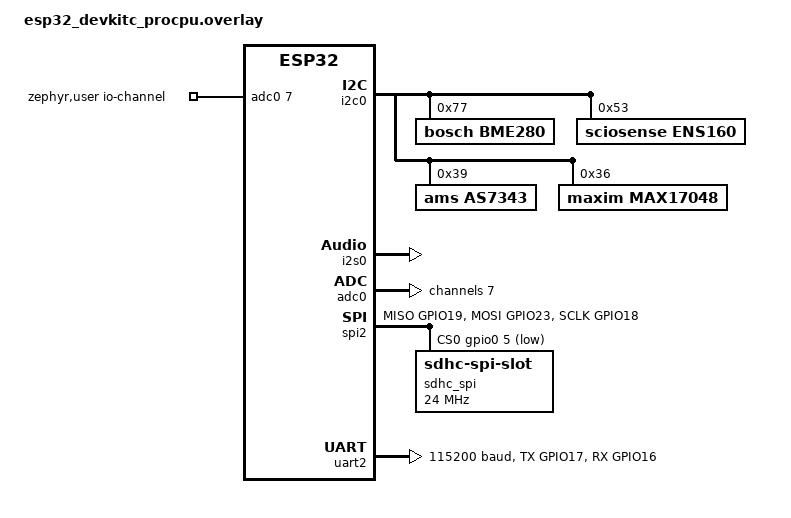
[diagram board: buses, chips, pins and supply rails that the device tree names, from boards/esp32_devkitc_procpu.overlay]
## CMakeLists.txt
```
cmake_minimum_required(VERSION 3.20.0)
find_package(Zephyr REQUIRED HINTS $ENV{ZEPHYR_BASE})
project(sensor_node)

include_directories(include)

FILE(GLOB app_sources src/*.c)
target_sources(app PRIVATE ${app_sources})
```

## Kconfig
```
mainmenu "Sensor Node Configuration"

source "Kconfig.zephyr"

choice SENSOR_NODE
    prompt "Sensor node type"
    default SENSOR_NODE_1

config SENSOR_NODE_1
    bool "Sensor Node 1 (BME280 + ENS160 + Sound)"
    help
      Enables BME280 temperature/humidity/pressure,
      ENS160 eCO2/TVOC/AQI, and SPH0645 sound FFT threads.

config SENSOR_NODE_2
    bool "Sensor Node 2 (AS7343 + Moisture)"
    help
      Enables AS7343 light spectrum and capacitive
      soil moisture sensor threads.

config SENSOR_NODE_3
    bool "Sensor Node 3 (current or voltage)"
    help
      Enables current/voltage sensor threads.

endchoice

config SD_LOGGING
    bool "Enable SD card offline logging when BLE is unavailable"
    default n

config SD_LOG_ALWAYS_WRITE
    bool "Enable SD card to always write and not just when BLE not connected"
    default n

config MST_POLY
    bool "Enables Polynomial calibration for the Capacitive Moisture Sensor"
    default n
```

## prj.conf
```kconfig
# ── Bluetooth ────────────────────────────────────────────
CONFIG_BT=y
CONFIG_BT_PERIPHERAL=y
CONFIG_BT_HCI=y
CONFIG_BT_DEVICE_NAME="SensorNode"

# ACL buffer sizes — increased to support extended MTU for
# sound spectrum characteristic (3 × ~236 byte notifications)
CONFIG_BT_BUF_ACL_RX_SIZE=251
CONFIG_BT_BUF_ACL_TX_SIZE=251

# L2CAP MTU — must be ≥ largest notification payload + 4 byte L2CAP header
# Largest sound packet = 238 bytes → set to 244 (BLE max for LE Data Packets)
CONFIG_BT_L2CAP_TX_MTU=247
# CONFIG_BT_CONN_TX_MAX=10
CONFIG_BT_BUF_ACL_TX_COUNT=10
CONFIG_BT_BUF_EVT_RX_COUNT=11

# Allow MTU negotiation so gateway can request 244 byte ATT MTU
CONFIG_BT_GATT_CLIENT=n
CONFIG_BT_ATT_PREPARE_COUNT=0

# ── Hardware peripherals 
CONFIG_GPIO=y
CONFIG_I2C=y
CONFIG_I2S=y

# ── Sensors 
CONFIG_SENSOR=y
CONFIG_SENSOR_ASYNC_API=y
CONFIG_SENSOR_INIT_PRIORITY=95

# ── Floating point 
# Required for FFT (cosf, sinf, sqrtf) and sensor value formatting
CONFIG_FPU=y
CONFIG_CBPRINTF_FP_SUPPORT=y

# ── Console / logging 
CONFIG_UART_CONSOLE=y
CONFIG_PRINTK=y
CONFIG_LOG=y
CONFIG_LOG_DEFAULT_LEVEL=3

CONFIG_LOG_BUFFER_SIZE=4096
CONFIG_LOG_MODE_DEFERRED=y
CONFIG_PRINTK_BUFFER_SIZE=4096

# Shell
CONFIG_SHELL=y
CONFIG_SHELL_LOG_BACKEND=y
CONFIG_LOG_CMDS=y

# ── Libraries (barely using this library anymore)
CONFIG_JSON_LIBRARY=y

# ── Stack sizes 
# Main stack — keep at 4096 for shell + sensor init
CONFIG_MAIN_STACK_SIZE=4096

# System workqueue — BLE stack uses this heavily
CONFIG_SYSTEM_WORKQUEUE_STACK_SIZE=2048

# Idle thread — minimum viable
CONFIG_IDLE_STACK_SIZE=512

# ISR stack — I2S DMA ISR is lightweight
CONFIG_ISR_STACK_SIZE=1536

# ── Heap 
# BLE stack + I2S DMA descriptors + sensor drivers all draw from heap
CONFIG_HEAP_MEM_POOL_SIZE=29696

# ── ESP32-specific 
CONFIG_ESP32_USE_UNSUPPORTED_REVISION=y

CONFIG_ADC=y
CONFIG_ADC_ESP32=y
CONFIG_MST_POLY=y

# #FUEL GAUGE 
CONFIG_FUEL_GAUGE=y

CONFIG_SD_LOGGING=y
CONFIG_SD_LOG_ALWAYS_WRITE=y

# # ── FAT32 file system 
CONFIG_FILE_SYSTEM=y
CONFIG_FAT_FILESYSTEM_ELM=y
# auto-format if no FAT found
CONFIG_FS_FATFS_MOUNT_MKFS=y
CONFIG_FS_FATFS_NUM_FILES=4
CONFIG_FS_FATFS_NUM_DIRS=4

CONFIG_THREAD_STACK_INFO=y
CONFIG_INIT_STACKS=y

CONFIG_PICOLIBC_IO_FLOAT=y

CONFIG_UART_ESP32=y

CONFIG_POWEROFF=y

CONFIG_SENSOR_NODE_1=y
# CONFIG_SENSOR_NODE_2=y
# CONFIG_SENSOR_NODE_3=y
```

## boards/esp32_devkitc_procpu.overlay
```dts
&i2c0 {

    bme280@76 {
        compatible = "bosch,bme280";
        reg = <0x77>;
        label = "BME280";
    };

    ens160@53 {
        compatible = "sciosense,ens160";
        reg = <0x53>;  /* or 0x52 depending on ADDR pin */
        label = "ENS160";
    };

    as7343@39 {
        compatible = "ams,as7343";
        reg = <0x39>;
        status = "okay";
        label = "AS7343";
    };

    max17048@36 {
        compatible = "maxim,max17048";
        reg = <0x36>;
        label = "MAX17048";
    };
};

// &pinctrl {
//     i2s0_default: i2s0_default {
//         group1 {
//             pinmux = <I2S0_O_WS_GPIO25>,
//                      <I2S0_O_BCK_GPIO26>,
//                      <I2S0_O_SD_GPIO27>;   /* TX data out — loopback pin */
//             output-enable;
//         };
//         group2 {
//             pinmux = <I2S0_I_SD_GPIO27>,   /* TX→RX internal loopback — keeps BCLK alive */
//                      <I2S0_I_SD_GPIO34>;   /* Mic data in (SPH0645 DOUT) */
//             input-enable;
//         };
//     };
// };

&pinctrl {
    i2s0_default: i2s0_default {
        group1 {
            pinmux = <I2S0_O_WS_GPIO25>,    /* Word */
                     <I2S0_O_BCK_GPIO26>,  /* Clock */
                     <I2S0_O_SD_GPIO27>;   /* TX data out — loopback pin */
            output-enable;
        };
        group2 {
            pinmux = <I2S0_I_SD_GPIO34>;   /* Mic data in (SPH0645 DOUT) */
            input-enable;
        };
    };
};


i2s_rxtx: &i2s0 {
    status = "okay";

    interrupts = <I2S0_INTR_SOURCE IRQ_DEFAULT_PRIORITY 0>,
                 <I2S0_INTR_SOURCE IRQ_DEFAULT_PRIORITY 0>;
    interrupt-names = "tx", "rx";
};

&adc0 {
    status = "okay";
    #address-cells = <1>;
    #size-cells = <0>;

    channel@7 {
        reg = <7>;
        zephyr,gain = "ADC_GAIN_1_4";
        zephyr,reference = "ADC_REF_INTERNAL";
        zephyr,acquisition-time = <ADC_ACQ_TIME_DEFAULT>;
        zephyr,input-positive = <7>;
        zephyr,resolution = <12>;
    };
};

/ {
    zephyr,user {
        io-channels = <&adc0 7>;
    };
};

/* Disable the onboard native SDHC controller to free the label */
&sdhc0 {
    status = "disabled";
};

&pinctrl {
    spim2_default: spim2_default {
        group1 {
            pinmux = <SPIM2_MISO_GPIO19>,
                     <SPIM2_MOSI_GPIO23>,
                     <SPIM2_SCLK_GPIO18>;
        };
    };
};

&spi2 {
    status = "okay";
    pinctrl-0 = <&spim2_default>;
    pinctrl-names = "default";
    cs-gpios = <&gpio0 5 GPIO_ACTIVE_LOW>;

    sdhc_spi: sdhc@0 {
        compatible = "zephyr,sdhc-spi-slot";
        reg = <0>;
        status = "okay";
        spi-max-frequency = <24000000>;

        mmc {
            compatible = "zephyr,sdmmc-disk";
            disk-name = "SD";
            status = "okay";
        };
    };
};


#include <zephyr/dt-bindings/pinctrl/esp32-pinctrl.h>

&pinctrl {
    uart2_default_w1: uart2_default_w1 {
        group1 {
            pinmux = <UART2_TX_GPIO17>;
            bias-pull-up;
        };
        group2 {
            pinmux = <UART2_RX_GPIO16>;
            bias-pull-up;
        };
    };
};

&uart2 {
    status = "okay";
    current-speed = <115200>;
    pinctrl-0 = <&uart2_default_w1>;
    pinctrl-names = "default";
};
```

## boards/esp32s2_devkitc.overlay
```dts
&i2c0 {

    bme280@76 {
        compatible = "bosch,bme280";
        reg = <0x77>;
        label = "BME280";
    };

    ens160@53 {
        compatible = "sciosense,ens160";
        reg = <0x53>;  /* or 0x52 depending on ADDR pin */
        label = "ENS160";
    };

    as7343@39 {
        compatible = "ams,as7343";
        reg = <0x39>;
        status = "okay";
        label = "AS7343";
    };

    max17048@36 {
        compatible = "maxim,max17048";
        reg = <0x36>;
        label = "MAX17048";
    };
};

&pinctrl {
    i2s0_default: i2s0_default {
        group1 {
            pinmux = <I2S0_O_WS_GPIO25>,
                     <I2S0_O_BCK_GPIO26>,
                     <I2S0_O_SD_GPIO27>;   /* TX data out — loopback pin */
            output-enable;
        };
        group2 {
            pinmux = <I2S0_I_SD_GPIO27>,   /* TX→RX internal loopback — keeps BCLK alive */
                     <I2S0_I_SD_GPIO34>;   /* Mic data in (SPH0645 DOUT) */
            input-enable;
        };
    };
};

// &pinctrl {
//     i2s0_default: i2s0_default {
//         group1 {
//             pinmux = <I2S0_O_WS_GPIO25>,
//                      <I2S0_O_BCK_GPIO26>,
//                      <I2S0_O_SD_GPIO27>;   /* TX data out — loopback pin */
//             output-enable;
//         };
//         group2 {
//             pinmux = <I2S0_I_SD_GPIO34>;   /* Mic data in (SPH0645 DOUT) */
//             input-enable;
//         };
//     };
// };


i2s_rxtx: &i2s0 {
    status = "okay";

    interrupts = <I2S0_INTR_SOURCE IRQ_DEFAULT_PRIORITY 0>,
                 <I2S0_INTR_SOURCE IRQ_DEFAULT_PRIORITY 0>;
    interrupt-names = "tx", "rx";
};

&adc0 {
    status = "okay";
    #address-cells = <1>;
    #size-cells = <0>;

    channel@7 {
        reg = <7>;
        zephyr,gain = "ADC_GAIN_1_4";
        zephyr,reference = "ADC_REF_INTERNAL";
        zephyr,acquisition-time = <ADC_ACQ_TIME_DEFAULT>;
        zephyr,input-positive = <7>;
        zephyr,resolution = <12>;
    };
};

/ {
    zephyr,user {
        io-channels = <&adc0 7>;
    };
};

/* Disable the onboard native SDHC controller to free the label */
&sdhc0 {
    status = "disabled";
};

&pinctrl {
    spim2_default: spim2_default {
        group1 {
            pinmux = <SPIM2_MISO_GPIO19>,
                     <SPIM2_MOSI_GPIO23>,
                     <SPIM2_SCLK_GPIO18>;
        };
    };
};

&spi2 {
    status = "okay";
    pinctrl-0 = <&spim2_default>;
    pinctrl-names = "default";
    cs-gpios = <&gpio0 5 GPIO_ACTIVE_LOW>;

    sdhc_spi: sdhc@0 {
        compatible = "zephyr,sdhc-spi-slot";
        reg = <0>;
        status = "okay";
        spi-max-frequency = <24000000>;

        mmc {
            compatible = "zephyr,sdmmc-disk";
            disk-name = "SD";
            status = "okay";
        };
    };
};


#include <zephyr/dt-bindings/pinctrl/esp32-pinctrl.h>

&pinctrl {
    uart2_default_w1: uart2_default_w1 {
        group1 {
            pinmux = <UART2_TX_GPIO17>;
            bias-pull-up;
        };
        group2 {
            pinmux = <UART2_RX_GPIO16>;
            bias-pull-up;
        };
    };
};

&uart2 {
    status = "okay";
    current-speed = <115200>;
    pinctrl-0 = <&uart2_default_w1>;
    pinctrl-names = "default";
};
```

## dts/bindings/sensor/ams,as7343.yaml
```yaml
description: AMS AS7343 multispectral light sensor

compatible: "ams,as7343"

include: ["i2c-device.yaml"]

properties:
  reg:
    required: true
    description: I2C address (default 0x39)
```

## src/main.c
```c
#include <zephyr/kernel.h>
#include <zephyr/device.h>
#include <zephyr/drivers/rtc.h>
#include <zephyr/sys/util.h>
#include <zephyr/shell/shell.h>
#include <zephyr/drivers/sensor.h>
#include <zephyr/drivers/sensor/ens160.h>
 
#include "sensor.h"
#include "bluetooth.h"
 
/* ── New modality BLE headers ──────────────────────────── */
#if defined(CONFIG_SENSOR_NODE_1)
#include "sound.h"
#include "sound_ble.h"
#include "bme_ble.h"
#include "ens_ble.h"
#elif defined(CONFIG_SENSOR_NODE_2)
#include "as7343.h"
#include "as7_ble.h"
#include "mst_ble.h"
#include "ds18b20_ble.h"
#elif defined(CONFIG_SENSOR_NODE_3)
#include "cur_ble.h"
#endif

#if defined(CONFIG_FUEL_GAUGE)
#include "bat_ble.h"
#endif

#include <zephyr/types.h>
#include <zephyr/sys/printk.h>
#include <zephyr/logging/log.h>
#include <zephyr/net_buf.h>
#include <zephyr/bluetooth/bluetooth.h>
#include <zephyr/bluetooth/conn.h>
#include <zephyr/bluetooth/gatt.h>
#include <zephyr/bluetooth/hci.h>
#include <string.h>

#if defined(CONFIG_SD_LOGGING)
#include "sd_log.h"
#endif


/* ── Sensor node selection ───────────────────────────────────────────────────
 * Set exactly one of these in prj.conf:
 *   CONFIG_SENSOR_NODE_1=y
 *   CONFIG_SENSOR_NODE_2=y
 */

/* ── Shared across all nodes ─────────────────────────────────────────────── */
K_THREAD_DEFINE(sensornode_tid, BLUETOOTH_CONTROL_STACK_SIZE, sensornode_thread,
                NULL, NULL, NULL,
                BLUETOOTH_CONTROL_PRIORITY, 0, 0);

#if defined(CONFIG_SD_LOGGING)
K_THREAD_DEFINE(sd_drain_tid, 4096, sd_drain_thread,
                NULL, NULL, NULL, 5, 0, 0);
#endif

#if defined(CONFIG_FUEL_GAUGE)
// Battery — uncomment later
K_THREAD_DEFINE(max17048_tid, 1024, max17048_thread,
                NULL, NULL, NULL,
                BME280_THREAD_PRIORITY, 0, 0);
K_THREAD_DEFINE(bat_ble_tid, BAT_BLE_STACK_SIZE, bat_ble_thread,
                NULL, NULL, NULL,
                BAT_BLE_PRIORITY, 0, 0);
#endif

/* ── Sensor Node 1: BME280 + ENS160 + Sound ─────────────────────────────── */
#if defined(CONFIG_SENSOR_NODE_1)

/* Sensor acquisition threads */
// K_THREAD_DEFINE(bme280_tid, STACK_SIZE_SENSOR, bme280_thread,
//                 NULL, NULL, NULL,
//                 BME280_THREAD_PRIORITY, 0, 0);

// K_THREAD_DEFINE(ens160_tid, STACK_SIZE_SENSOR, ens160_thread,
//                 NULL, NULL, NULL,
//                 BME280_THREAD_PRIORITY, 0, 0);

K_THREAD_DEFINE(envtid, STACK_SIZE_SENSOR, env_thread,
                NULL, NULL, NULL,
                ENV_THREAD_PRIORITY, 0, 0);

K_THREAD_DEFINE(sound_tid, SOUND_STACK_SIZE, sound_thread,
                NULL, NULL, NULL,
                SOUND_PRIORITY, 0, 0);

/* BLE modality threads */
K_THREAD_DEFINE(bme_ble_tid, BME_BLE_STACK_SIZE, bme_ble_thread,
                NULL, NULL, NULL,
                BME_BLE_PRIORITY, 0, 0);

K_THREAD_DEFINE(ens_ble_tid, ENS_BLE_STACK_SIZE, ens_ble_thread,
                NULL, NULL, NULL,
                ENS_BLE_PRIORITY, 0, 0);

K_THREAD_DEFINE(sound_ble_tid, SOUND_BLE_STACK_SIZE, sound_ble_thread,
                NULL, NULL, NULL,
                SOUND_BLE_PRIORITY, 0, 0);

/* ── Sensor Node 2: AS7343 + Moisture ───────────────────────────────────── */
#elif defined(CONFIG_SENSOR_NODE_2)

/* Sensor acquisition threads */
K_THREAD_DEFINE(as7343_tid, STACK_SIZE_SENSOR, as7343_thread,
                NULL, NULL, NULL,
                BME280_THREAD_PRIORITY, 0, 0);

K_THREAD_DEFINE(moisture_tid, STACK_SIZE_SENSOR, moisture_thread,
                NULL, NULL, NULL,
                BME280_THREAD_PRIORITY, 0, 0);

K_THREAD_DEFINE(soil_temp_tid, STACK_SIZE_SENSOR, ds18b20_thread,
                NULL, NULL, NULL,
                BME280_THREAD_PRIORITY, 0, 0);

// /* BLE modality threads */
K_THREAD_DEFINE(as7_ble_tid, AS7_BLE_STACK_SIZE, as7_ble_thread,
                NULL, NULL, NULL,
                AS7_BLE_PRIORITY, 0, 0);

K_THREAD_DEFINE(mst_ble_tid, MST_BLE_STACK_SIZE, mst_ble_thread,
                NULL, NULL, NULL,
                MST_BLE_PRIORITY, 0, 0);

K_THREAD_DEFINE(ds18b20_ble_tid, DS18B20_BLE_STACK_SIZE, ds18b20_ble_thread,
                NULL, NULL, NULL,
                DS18B20_BLE_PRIORITY, 0, 0);

#elif defined(CONFIG_SENSOR_NODE_3)
                /* Sensor acquisition thread */
K_THREAD_DEFINE(current_tid, 2 * CUR_BLE_STACK_SIZE, current_thread,
                NULL, NULL, NULL,
                CUR_BLE_PRIORITY, 0, 0);
 
/* BLE modality thread */
K_THREAD_DEFINE(cur_ble_tid, CUR_BLE_STACK_SIZE, cur_ble_thread,
                NULL, NULL, NULL,
                CUR_BLE_PRIORITY, 0, 0);

#else
#error "No sensor node selected. Set CONFIG_SENSOR_NODE_1=y or CONFIG_SENSOR_NODE_2=y,  CONFIG_SENSOR_NODE_3=y in prj.conf"

#endif
```

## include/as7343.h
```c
#include <zephyr/device.h>
#include <zephyr/drivers/sensor.h>
#include <zephyr/drivers/i2c.h>

/* I2C address*/
#define AS7343_I2C_ADDR     0x39

/* Register addresses*/
#define AS7343_REG_ENABLE   0x80
#define AS7343_REG_ATIME    0x81
#define AS7343_REG_STATUS2  0x90
#define AS7343_REG_STATUS   0x93
#define AS7343_REG_CH0_L    0x95
#define AS7343_REG_AGAIN    0xC6
#define AS7343_REG_ASTEP_L  0xD4
#define AS7343_REG_ASTEP_H  0xD5
#define AS7343_REG_CFG20    0xD6
#define AS7343_REG_BANK     0xBF

/* Status bits*/
#define AS7343_STATUS2_AVALID   BIT(6)

/* Channel counts*/
#define AS7343_NUM_CHANNELS  18
#define AS7343_GAIN_STEPS    12

/* Wavelength sentinels */
/* 0   = flicker detect — excluded from all calculations*/
/* 999 = VIS broadband clear — exposed via vis_irradiance_mW */
#define AS7343_WL_FLICKER   0
#define AS7343_WL_VIS_CLEAR 999

/* {wavelength_nm, irradiance_mW} pair — used by as7343_get_spectrum()*/
struct as7343_point {
    uint16_t wavelength_nm;
    uint16_t value;
};

/* Driver data*/
struct as7343_data {

    /* Raw 16-bit ADC counts, DATA0..DATA17 */
    uint16_t channel_data[AS7343_NUM_CHANNELS];

    /* Wavelength per channel (nm). 0=flicker, 999=VIS clear */
    uint16_t wavelengths[AS7343_NUM_CHANNELS];

    /* BasicCounts after dark subtraction, gain correction, and spectral*/
    /* Units: counts / (gain_ratio * tint_ms),*/
    float basic_counts[AS7343_NUM_CHANNELS];

    /* Per-channel irradiance in mW/m² after full calibration chain.*/
    float irradiance_mW[AS7343_NUM_CHANNELS];

    /* VIS broadband irradiance (mW/m²) — direct access without wl_index()*/
    float vis_irradiance_mW;

    /* Dark offset BasicCounts per channel, measured at startup in darkness.*/
    float dark_basic[AS7343_NUM_CHANNELS];

    /* True once as7343_calibrate_dark() has been called successfully.*/
    bool dark_calibrated;

    /* Current AGAIN gain step index (0=0.5x ... 11=1024x). */
    /* Updated automatically by auto-ranging in sample_fetch.*/
    uint8_t again_idx;
};

/* Driver config*/
struct as7343_config {
    struct i2c_dt_spec i2c;
};

/**
 * @brief One-time dark offset calibration — call at startup with sensor covered.
 *
 * Averages 10 samples to compute a BasicCounts dark offset per channel.
 * Offset is gain-independent and remains valid across auto-ranger steps.
 * If not called, dark subtraction is skipped and readings include the
 * dark current floor. NOT ACTUALLY USING CURRENTLY
 *
 * @param dev  AS7343 device handle.
 * @return     0 on success, negative errno on failure.
 */
extern int as7343_calibrate_dark(const struct device *dev);

/**
 * @brief Fetch a calibrated spectrum from the AS7343.
 *
 * Fills spectrum[i].wavelength_nm and spectrum[i].value (irradiance in
 * mW/m², clamped to uint16). Also updates dev->data->vis_irradiance_mW
 * with the broadband VIS channel value.
 *
 * @param dev       AS7343 device handle.
 * @param spectrum  Output array of AS7343_NUM_CHANNELS points.
 * @return          0 on success, negative errno on failure.
 */
extern int as7343_get_spectrum(const struct device *dev,
                               struct as7343_point spectrum[AS7343_NUM_CHANNELS]);
```

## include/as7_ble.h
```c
#ifndef AS7_BLE_H
#define AS7_BLE_H

#include "sensor.h"

#define AS7_BLE_STACK_SIZE  2048
#define AS7_BLE_PRIORITY    6

extern struct k_sem as7_notify_sem;

/**
 * @brief AS7343 BLE thread — dequeues messages from as7_q and either
 * notifies the gateway or logs to SD card depending on connection state
 * and UTC validity.
 */
extern void as7_ble_thread(void);

/**
 * @brief Pack an AS7343 message into the BLE buffer and notify the gateway.
 *
 * Encodes utc_sec (4 bytes), utc_ms (2 bytes), 13 spectral channels as
 * big-endian uint32 (52 bytes), and dev_id (1 byte) into as7_buf, then
 * sends a GATT notification.
 *
 * @param msg  Spectral message to encode.
 * @return     true if notification was sent, false if not connected or
 *             notifications not enabled.
 */
extern bool as7_pack_and_notify(const struct as7343_msg *msg);

#endif /* AS7_BLE_H */
```

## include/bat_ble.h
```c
#ifndef BAT_BLE_H
#define BAT_BLE_H

#include "sensor.h"

#define BAT_BLE_STACK_SIZE  768
#define BAT_BLE_PRIORITY    6

extern void bat_ble_thread(void);

extern void bat_pack_and_notify(const struct batt_msg *msg);

#endif /* BAT_BLE_H */
```

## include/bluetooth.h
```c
#ifndef TRACKER_SERVICE_H
#define TRACKER_SERVICE_H

#include <zephyr/types.h>
#include <zephyr/kernel.h>
#include <zephyr/types.h>
#include <zephyr/sys/printk.h>
#include <zephyr/logging/log.h>
#include <zephyr/net_buf.h>
#include <zephyr/bluetooth/bluetooth.h>
#include <zephyr/bluetooth/conn.h>
#include <zephyr/bluetooth/gatt.h>
#include <zephyr/bluetooth/hci.h>

#include <string.h>

#include "sensor.h"

#define BLUETOOTH_CONTROL_STACK_SIZE 2048
#define BLUETOOTH_CONTROL_PRIORITY 5

// ---------- Sensor payload (ONLY what we need) ---------- DOUBLE CHECK THIS MACRO IS NEEDED HERE (THINK REDUNDANT)
#define AS7343_NUM_CH 13  // 405,425,450,475,515,550,555,600,640,690,745,855,VISIBLE

extern void pack_sensor_data(const struct sensor_blk *sensor);

extern int init_bluetooth(void);

extern int start_advertising(void);

extern int stop_advertising(void);

extern int stop_advertising_and_disconnect();

extern void sensornode_thread(void);

#endif // TRACKER_SERVICE_H
```

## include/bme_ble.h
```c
#ifndef BME_BLE_H
#define BME_BLE_H

#include "sensor.h"

#define BME_BLE_STACK_SIZE  2048
#define BME_BLE_PRIORITY    6

extern struct k_sem bme_notify_sem;

extern void bme_ble_thread(void);

extern bool bme_pack_and_notify(const struct bme280_msg *msg);

#endif /* BME_BLE_H */
```

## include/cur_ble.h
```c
#ifndef CUR_BLE_H
#define CUR_BLE_H

#include <zephyr/kernel.h>
#include <zephyr/bluetooth/gatt.h>
#include "sensor.h"
#include "sd_log.h"

/* ── Thread config ──────────────────────────────────────── */
#define CUR_BLE_STACK_SIZE  1024
#define CUR_BLE_PRIORITY    6

/* ── Public API ─────────────────────────────────────────── */
extern void cur_ble_thread(void);
extern void cur_pack_and_notify(const struct current_msg *msg);

#endif /* CUR_BLE_H */
```

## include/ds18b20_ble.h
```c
#ifndef DS18B20_BLE_H
#define DS18B20_BLE_H

#include "sensor.h"

#define DS18B20_BLE_STACK_SIZE  2048
#define DS18B20_BLE_PRIORITY    6

extern struct k_sem ds18b20_notify_sem;

extern void ds18b20_ble_thread(void);

extern bool ds18b20_pack_and_notify(const struct ds18b20_msg *msg);

#endif /* DS18B20_BLE_H */
```

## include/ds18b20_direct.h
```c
/*
 * ds18b20_direct.h
 *
 * Direct DS18B20 1-Wire driver for ESP32 on Zephyr RTOS.
 * Bypasses Zephyr's w1_serial driver entirely.
 *
 */

#ifndef DS18B20_DIRECT_H
#define DS18B20_DIRECT_H

#include <zephyr/drivers/sensor.h>

/**
 * @brief Initialise the DS18B20 direct UART driver.
 *        Must be called once before ds18b20_direct_read().
 *
 * @return 0 on success, negative errno on failure
 */
int ds18b20_direct_init(void);

/**
 * @brief Read temperature from DS18B20 in degrees Celsius.
 *
 * @param temp_c  Pointer to float to store temperature
 * @return 0 on success
 *         -ENODEV if no device detected on bus
 *         -EIO    if CRC error or UART bus error
 */
int ds18b20_direct_read(float *temp_c);

/**
 * @brief Read temperature into a Zephyr sensor_value struct.
 *        val1 = integer degrees C
 *        val2 = fractional part in millionths (e.g. 62500 = 0.0625°C)
 *
 * @param val  Pointer to sensor_value to populate
 * @return 0 on success, negative errno on failure
 */
int ds18b20_direct_read_sensor_value(struct sensor_value *val);

#endif /* DS18B20_DIRECT_H */
```

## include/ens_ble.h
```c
#ifndef ENS_BLE_H
#define ENS_BLE_H

#include "sensor.h"

#define ENS_BLE_STACK_SIZE  2048
#define ENS_BLE_PRIORITY    6

extern struct k_sem ens_notify_sem;

extern void ens_ble_thread(void);

extern bool ens_pack_and_notify(const struct ens160_msg *msg);

#endif /* ENS_BLE_H */
```

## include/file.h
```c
/**
 * @file file.h
 * @brief File library header - FAT32 on microSD via SPI
 *
 * Provides an interface for mounting a FAT32 formatted microSD card
 * over SPI and performing basic file I/O and shell commands.
 *
 * Board target : esp32_devkitc_wroom (ESP32 Thing Plus C)
 * File system  : FatFS (FAT32)
 * Interface    : SPI -> sdhc-spi-slot -> sdmmc-disk
 */

#ifndef FILE_H
#define FILE_H

#include <zephyr/sys/printk.h>
#include <zephyr/kernel.h>
#include <zephyr/device.h>
#include <zephyr/fs/fs.h>
#include <zephyr/logging/log.h>
#include <zephyr/shell/shell.h>
#include <string.h>
#include <ff.h>

/** Root mount point for the FAT32 SD card.
 *  Must match the disk-name in the device tree overlay ("SD"). */
#define SD_MOUNT_POINT  "/SD"

#define FILE_STACK_SIZE  4096
#define FILE_PRIORITY    5

#define MAX_PATH_LEN  256

#define INVALID  (-1)
#define APPEND     1
#define TRUNC      0


/**
 * @brief Mount the FAT32 SD card file system.
 * @return 0 on success, negative errno on failure.
 */
extern int fatfs_mount(void);

/**
 * @brief Write (append or truncate) a string to a file on the SD card.
 *
 * @param fname           Absolute or relative file path.
 * @param data            Null-terminated string to write.
 * @param trunc_or_append APPEND (1) to append, TRUNC (0) to overwrite.
 * @return 0 on success, negative errno on failure.
 */
extern int write_data_to_file(const char *fname, char *data,
                               uint8_t trunc_or_append);

/**
 * @brief Write raw binary data (append) to a file on the SD card.
 *
 * Uses explicit length rather than strlen
 * so binary data containing null bytes is handled correctly.
 *
 * @param fname  Absolute or relative file path.
 * @param data   Pointer to binary data to write.
 * @param len    Number of bytes to write.
 * @return 0 on success, negative errno on failure.
 */
extern int write_raw_to_file(const char *fname, const uint8_t *data,
                              size_t len);

/**
 * @brief Thread entry - mounts the SD card and registers shell commands.
 */
extern void file_control_thread(void);

extern int read_raw_verify_crc(FIL *fil, uint8_t *out, size_t record_len,
			UINT *bytes_read);

void to_fatfs_path(const char *zpath, char *fatpath, size_t maxlen);

#endif /* FILE_H */
```

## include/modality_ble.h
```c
/**
 * @file modality_ble.h
 * @brief Shared macros for per-modality BLE GATT characteristics.
 *
 * Only covers the parts that are truly identical across all modalities:
 *   - CCC changed callback
 *   - Read handler
 *   - GATT service definition
 *   - Notify helper
 *
 * Connection tracking (connected/disconnected callbacks and
 * bt_conn_cb_register) is written as plain functions in each .c file
 * to avoid macro-expanded function definitions at file scope.
 */

#ifndef MODALITY_BLE_H
#define MODALITY_BLE_H

#include <zephyr/bluetooth/bluetooth.h>
#include <zephyr/bluetooth/gatt.h>
#include <zephyr/bluetooth/conn.h>
#include <zephyr/logging/log.h>

/* ── CCC changed callback ─────────────────────────────────────────────── */
#define MODALITY_CCC_CHANGED(name, flag, sem)                               \
    static void name##_ccc_changed(const struct bt_gatt_attr *attr,         \
                                   uint16_t value)                          \
    {                                                                       \
        flag = (value == BT_GATT_CCC_NOTIFY);                              \
        if (flag) { k_sem_give(&sem); }                                     \
        LOG_INF(#name " notifications %s", flag ? "on" : "off");           \
    }

/* Without semaphore — for non-drainable modalities (bat, cur) */
#define MODALITY_CCC_CHANGED_NOSEM(name, flag)                              \
    static void name##_ccc_changed(const struct bt_gatt_attr *attr,         \
                                   uint16_t value)                          \
    {                                                                       \
        flag = (value == BT_GATT_CCC_NOTIFY);                              \
        LOG_INF(#name " notifications %s", flag ? "on" : "off");           \
    }

/* ── Read handler ─────────────────────────────────────────────────────── */
#define MODALITY_READ_HANDLER(name, buf, bufsz)                             \
    static ssize_t name##_read(struct bt_conn *conn,                        \
                               const struct bt_gatt_attr *attr,             \
                               void *out, uint16_t len, uint16_t offset)    \
    {                                                                       \
        return bt_gatt_attr_read(conn, attr, out, len, offset, buf, bufsz); \
    }

/* ── GATT service definition ──────────────────────────────────────────── */
#define MODALITY_GATT_SERVICE(name, svc_uuid_bytes, chr_uuid_bytes)         \
    BT_GATT_SERVICE_DEFINE(name##_svc,                                      \
        BT_GATT_PRIMARY_SERVICE(                                            \
            BT_UUID_DECLARE_128(svc_uuid_bytes)),                           \
        BT_GATT_CHARACTERISTIC(                                             \
            BT_UUID_DECLARE_128(chr_uuid_bytes),                            \
            BT_GATT_CHRC_READ | BT_GATT_CHRC_NOTIFY,                       \
            BT_GATT_PERM_READ,                                              \
            name##_read, NULL, NULL),                                       \
        BT_GATT_CCC(name##_ccc_changed,                                     \
                    BT_GATT_PERM_READ | BT_GATT_PERM_WRITE),               \
    )

/* ── Notify helper ────────────────────────────────────────────────────── */
#define MODALITY_NOTIFY(name, conn_var, flag, buf, len)                     \
    do {                                                                    \
        if ((flag) && (conn_var)) {                                         \
            int _err = bt_gatt_notify((conn_var),                           \
                                      &name##_svc.attrs[1],                 \
                                      (buf), (len));                        \
            if (_err) {                                                     \
                LOG_ERR(#name " notify failed: %d", _err);                  \
            }                                                               \
        }                                                                   \
    } while (0)

#endif /* MODALITY_BLE_H */
```

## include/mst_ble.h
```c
#ifndef MST_BLE_H
#define MST_BLE_H

#include "sensor.h"

#define MST_BLE_STACK_SIZE  2048
#define MST_BLE_PRIORITY    6

extern struct k_sem mst_notify_sem;

extern void mst_ble_thread(void);

extern bool mst_pack_and_notify(const struct moisture_msg *msg);

#endif /* MST_BLE_H */
```
